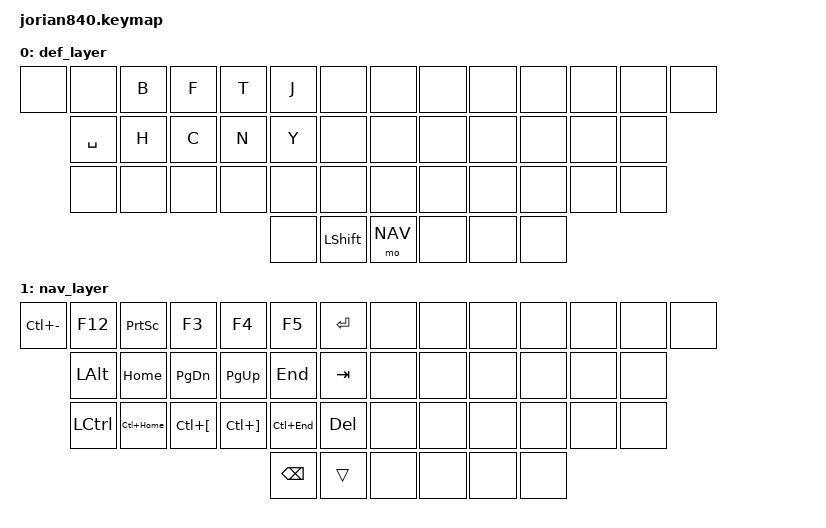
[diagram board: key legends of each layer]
/*
 * Copyright (c) 2020 The ZMK Contributors
 *
 * SPDX-License-Identifier: MIT
 */

#include <behaviors.dtsi>
#include <dt-bindings/zmk/keys.h>
#include <dt-bindings/zmk/bt.h>

#define DEF 0
#define NAV 1

#define MY_COMBO_TIME 100

#include "letters.keymap"
#include "nav.keymap"


/ {
        keymap {
                compatible = "zmk,keymap";

                def_layer {
                        bindings = <
        &none &none     &kp B &kp F &kp T &kp J &none     &none         &none  &none &none &none &none &none
              &kp SPACE &kp H &kp C &kp N &kp Y &none     &none         &none  &none &none &none &none
              &none     &none &none &none &none &none     &none         &none  &none &none &none &none
                                          &none &kp LSHFT &mo NAV       &none  &none &none
                        >;
                };
                nav_layer {
                        bindings = <
   &kp LC(MINUS) &kp F12          &kp PSCRN    &kp F3       &kp F4       &kp F5       &kp ENTER                   &none &none &none &none &none &none  &none
                 &kp LALT         &kp HOME     &kp PG_DN    &kp PG_UP    &kp END      &kp TAB                     &none &none &none &none &none &none
                 &kp LCTRL        &kp LC(HOME) &kp LC(LBKT) &kp LC(RBKT) &kp LC(END)  &kp DEL                     &none &none &none &none &none &none
                                                                         &kp BSPC     &trans      &none     &none &none &none
                        >;
                };
        };
};
